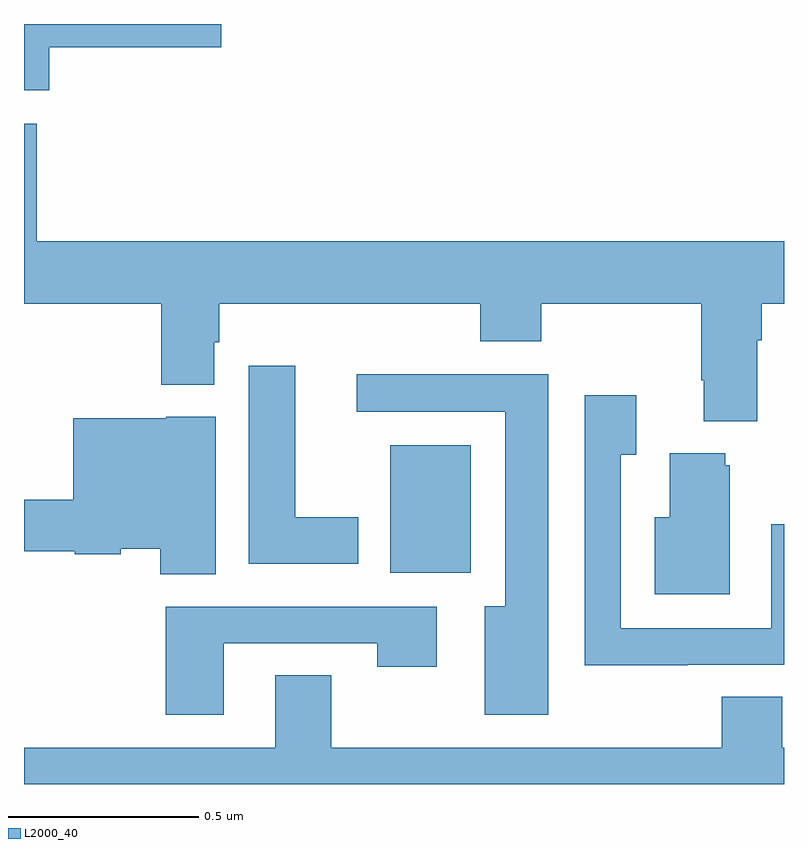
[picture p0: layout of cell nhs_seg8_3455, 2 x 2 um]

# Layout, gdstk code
import gdstk
lib = gdstk.Library(unit=1e-6, precision=1e-09)
def R(c, l, rs):  # rectangles x0, y0, x1, y1
    for r in rs: c.add(gdstk.rectangle(r[:2], r[2:], *l))
def P(c, l, *ps):  # polygons
    for p in ps: c.add(gdstk.Polygon(p, *l))
L2000_40 = (2000, 40)

nhs_seg8_3455 = lib.new_cell('nhs_seg8_3455')
R(nhs_seg8_3455, L2000_40, [(157.964,1118.456,158.176,1118.791)])
P(nhs_seg8_3455, L2000_40, [(157.067,1119.839),(157.519,1119.839),(157.519,1119.9),(157,1119.9),(157,1119.726),(157.067,1119.726)],
  [(158.929,1119.068),(158.942,1119.068),(158.942,1119.164),(159,1119.164),(159,1119.328),(157.034,1119.328),(157.034,1119.637),(157,1119.637),(157,1119.164),(157.361,1119.164),(157.361,1118.951),(157.501,1118.951),(157.501,1119.063),(157.514,1119.063),(157.514,1119.164),(158.201,1119.164),(158.201,1119.065),(158.361,1119.065),(158.361,1119.164),(158.782,1119.164),(158.782,1118.962),(158.789,1118.962),(158.789,1118.855),(158.929,1118.855)],
  [(157.879,1118.602),(157.714,1118.602),(157.714,1119.001),(157.592,1119.001),(157.592,1118.48),(157.879,1118.48)],
  [(158.38,1118.978),(157.875,1118.978),(157.875,1118.88),(158.267,1118.88),(158.267,1118.368),(158.213,1118.368),(158.213,1118.082),(158.38,1118.082)],
  [(158.747,1118.214),(159,1118.214),(159,1118.584),(158.967,1118.584),(158.967,1118.31),(158.571,1118.31),(158.571,1118.767),(158.611,1118.767),(158.611,1118.923),(158.475,1118.923),(158.475,1118.213),(158.747,1118.213)],
  [(157.504,1118.866),(157.374,1118.866),(157.374,1118.863),(157.13,1118.863),(157.13,1118.648),(157,1118.648),(157,1118.512),(157.134,1118.512),(157.134,1118.504),(157.254,1118.504),(157.254,1118.519),(157.358,1118.519),(157.358,1118.452),(157.504,1118.452)],
  [(158.857,1118.739),(158.846,1118.739),(158.846,1118.77),(158.699,1118.77),(158.699,1118.602),(158.66,1118.602),(158.66,1118.399),(158.857,1118.399)],
  [(157.525,1118.271),(157.93,1118.271),(157.93,1118.208),(158.086,1118.208),(158.086,1118.367),(157.373,1118.367),(157.373,1118.082),(157.525,1118.082)],
  [(159,1117.996),(158.996,1117.996),(158.996,1118.129),(158.836,1118.129),(158.836,1117.996),(157.809,1117.996),(157.809,1118.186),(157.661,1118.186),(157.661,1117.996),(157,1117.996),(157,1117.9),(159,1117.9)])

lib.write_gds('nhs_seg8_3455.gds')
